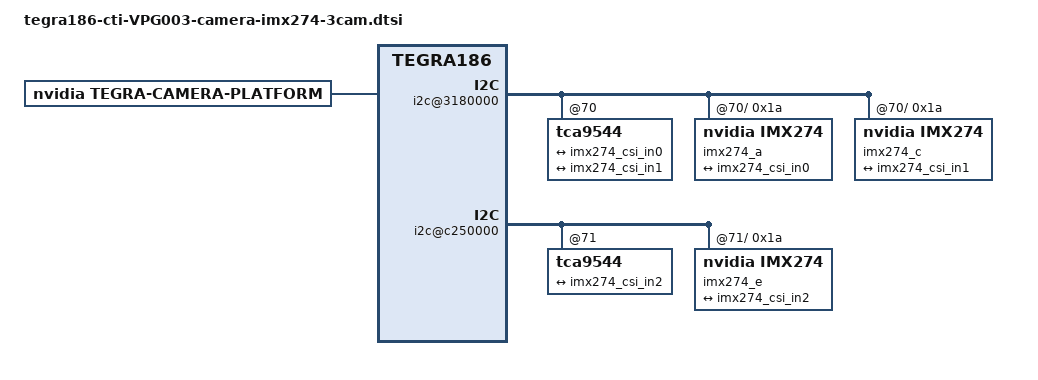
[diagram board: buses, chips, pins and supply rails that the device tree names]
/*
 * Copyright (c) 2015-2017, NVIDIA CORPORATION.  All rights reserved.
 *
 * This program is free software; you can redistribute it and/or modify
 * it under the terms of the GNU General Public License as published by
 * the Free Software Foundation; either version 2 of the License, or
 * (at your option) any later version.
 *
 * This program is distributed in the hope that it will be useful, but WITHOUT
 * ANY WARRANTY; without even the implied warranty of MERCHANTABILITY or
 * FITNESS FOR A PARTICULAR PURPOSE.  See the GNU General Public License for
 * more details.
 *
 * You should have received a copy of the GNU General Public License
 * along with this program.  If not, see <http://www.gnu.org/licenses/>.
 */

/ {
	host1x {
		vi@15700000 {
			num-channels = <3>;
			ports {
				#address-cells = <1>;
				#size-cells = <0>;
				port@0 {
					reg = <0>;
					imx274_vi_in0: endpoint {
						csi-port = <0>;
						bus-width = <4>;
						remote-endpoint = <&imx274_csi_out0>;
					};
				};
				port@1 {
					reg = <1>;
					imx274_vi_in1: endpoint {
						csi-port = <2>;
						bus-width = <4>;
						remote-endpoint = <&imx274_csi_out1>;
					};
				};				
				port@2 {
					reg = <2>;
					imx274_vi_in2: endpoint {
						csi-port = <4>;
						bus-width = <4>;
						remote-endpoint = <&imx274_csi_out2>;
					};
				};				
			};
		};

		nvcsi@150c0000 {			
			num-channels = <3>;
			#address-cells = <1>;
			#size-cells = <0>;
			channel@0 {
				reg = <0>;
				ports {
					#address-cells = <1>;
					#size-cells = <0>;
					port@0 {
						reg = <0>;
						imx274_csi_in0: endpoint@0 {
							csi-port = <0>;
							bus-width = <4>;
							remote-endpoint = <&imx274_out0>;
						};
					};
					port@1 {
						reg = <1>;
						imx274_csi_out0: endpoint@1 {
							remote-endpoint = <&imx274_vi_in0>;
						};
					};
				};
			};
			channel@1 {
				reg = <1>;
				ports {
					#address-cells = <1>;
					#size-cells = <0>;
					port@0 {
						reg = <0>;
						imx274_csi_in1: endpoint@0 {
							csi-port = <2>;
							bus-width = <4>;
							remote-endpoint = <&imx274_out1>;
						};
					};
					port@1 {
						reg = <1>;
						imx274_csi_out1: endpoint@1 {
							remote-endpoint = <&imx274_vi_in1>;
						};
					};
				};
			};
			
			channel@2 {
				reg = <2>;
				ports {
					#address-cells = <1>;
					#size-cells = <0>;
					port@0 {
						reg = <0>;
						imx274_csi_in2: endpoint@0 {
							csi-port = <4>;
							bus-width = <4>;
							remote-endpoint = <&imx274_out2>;
						};
					};
					port@1 {
						reg = <1>;
						imx274_csi_out2: endpoint@1 {
							remote-endpoint = <&imx274_vi_in2>;
						};
					};
				};
			};						
		};
	};
	
	
	i2c@3180000 {
		tca9544@70 {
			i2c@0 {
				imx274_a@1a {
					compatible = "nvidia,imx274";
					reg = <0x1a>;
					devnode = "video0";

					/* Physical dimensions of sensor */
					physical_w = "3.674";
					physical_h = "2.738";


					/* Define any required hw resources needed by driver */
					/* ie. clocks, io pins, power sources */
					avdd-reg = "vana";
					iovdd-reg = "vif";
					dvdd-reg = "vdig";
					


                    mode0 { 
                        mclk_khz = "24000";
                        num_lanes = "4";
                        tegra_sinterface = "serial_a";
                        discontinuous_clk = "yes";
                        dpcm_enable = "false";
                        cil_settletime = "0";

                        active_w = "3840";
                        active_h = "2160";
                        pixel_t = "bayer_rggb";
                        readout_orientation = "90";
                        line_length = "4200";
                        inherent_gain = "1";
                        mclk_multiplier = "25";
                        pix_clk_hz = "756000000";

                        min_gain_val = "1.0";
                        max_gain_val = "180";
                        min_hdr_ratio = "1";
                        max_hdr_ratio = "64";
                        min_framerate = "1.462526";
                        max_framerate = "60";
                        min_exp_time = "16.165";
                        max_exp_time = "165770";
                        //embedded_metadata_height = "1";
                    };
                    mode1 { // IMX274_MODE_1920X1080
                        mclk_khz = "24000";
                        num_lanes = "4";
                        tegra_sinterface = "serial_a";
                        discontinuous_clk = "yes";
                        dpcm_enable = "false";
                        cil_settletime = "0";

                        active_w = "1920";
                        active_h = "1080";
                        pixel_t = "bayer_rggb";
                        readout_orientation = "90";
                        line_length = "4200";
                        inherent_gain = "1";
                        mclk_multiplier = "25";
                        pix_clk_hz = "756000000";

                        min_gain_val = "1.0";
                        max_gain_val = "180";
                        min_hdr_ratio = "1";
                        max_hdr_ratio = "64";
                        min_framerate = "1.462526";
                        max_framerate = "60";
                        min_exp_time = "16.165";
                        max_exp_time = "165770";
    //                  embedded_metadata_height = "1";
                    };
                    mode2 { // IMX274_MODE_1280X720
                        mclk_khz = "24000";
                        num_lanes = "4";
                        tegra_sinterface = "serial_a";
                        discontinuous_clk = "yes";
                        dpcm_enable = "false";
                        cil_settletime = "0";

                        active_w = "1280";
                        active_h = "720";
                        pixel_t = "bayer_rggb";
                        readout_orientation = "90";
                        line_length = "4200";
                        inherent_gain = "1";
                        mclk_multiplier = "25";
                        pix_clk_hz = "756000000";

                        min_gain_val = "1.0";
                        max_gain_val = "180";
                        min_hdr_ratio = "1";
                        max_hdr_ratio = "64";
                        min_framerate = "1.462526";
                        max_framerate = "60";
                        min_exp_time = "16.165";
                        max_exp_time = "165770";
    //                  embedded_metadata_height = "1";
                    };
                    mode3 { // IMX274_MODE_1280X540
                        mclk_khz = "24000";
                        num_lanes = "4";
                        tegra_sinterface = "serial_a";
                        discontinuous_clk = "yes";
                        dpcm_enable = "false";
                        cil_settletime = "0";

                        active_w = "1280";
                        active_h = "540";
                        pixel_t = "bayer_rggb";
                        readout_orientation = "90";
                        line_length = "4200";
                        inherent_gain = "1";
                        mclk_multiplier = "25";
                        pix_clk_hz = "756000000";

                        min_gain_val = "1.0";
                        max_gain_val = "180";
                        min_hdr_ratio = "1";
                        max_hdr_ratio = "64";
                        min_framerate = "1.462526";
                        max_framerate = "60";
                        min_exp_time = "16.165";
                        max_exp_time = "165770";
    //                  embedded_metadata_height = "1";
                    };


					ports {
						#address-cells = <1>;
						#size-cells = <0>;

						port@0 {
							reg = <0>;
							imx274_out0: endpoint {
								csi-port = <0>;
								bus-width = <4>;
								remote-endpoint = <&imx274_csi_in0>;
							};
						};
					};
				};
			};	
			
			i2c@2 {
				imx274_c@1a {
					compatible = "nvidia,imx274";
					reg = <0x1a>;
					devnode = "video1";

					/* Physical dimensions of sensor */
					physical_w = "3.674";
					physical_h = "2.738";


					/* Define any required hw resources needed by driver */
					/* ie. clocks, io pins, power sources */
					avdd-reg = "vana";
					iovdd-reg = "vif";
					dvdd-reg = "vdig";
					
                    mode0 { 
                        mclk_khz = "24000";
                        num_lanes = "4";
                        tegra_sinterface = "serial_c";
                        discontinuous_clk = "yes";
                        dpcm_enable = "false";
                        cil_settletime = "0";

                        active_w = "3840";
                        active_h = "2160";
                        pixel_t = "bayer_rggb";
                        readout_orientation = "90";
                        line_length = "4200";
                        inherent_gain = "1";
                        mclk_multiplier = "25";
                        pix_clk_hz = "756000000";

                        min_gain_val = "1.0";
                        max_gain_val = "180";
                        min_hdr_ratio = "1";
                        max_hdr_ratio = "64";
                        min_framerate = "1.462526";
                        max_framerate = "60";
                        min_exp_time = "16.165";
                        max_exp_time = "165770";
                        //embedded_metadata_height = "1";
                    };
                    mode1 { // IMX274_MODE_1920X1080
                        mclk_khz = "24000";
                        num_lanes = "4";
                        tegra_sinterface = "serial_c";
                        discontinuous_clk = "yes";
                        dpcm_enable = "false";
                        cil_settletime = "0";

                        active_w = "1920";
                        active_h = "1080";
                        pixel_t = "bayer_rggb";
                        readout_orientation = "90";
                        line_length = "4200";
                        inherent_gain = "1";
                        mclk_multiplier = "25";
                        pix_clk_hz = "756000000";

                        min_gain_val = "1.0";
                        max_gain_val = "180";
                        min_hdr_ratio = "1";
                        max_hdr_ratio = "64";
                        min_framerate = "1.462526";
                        max_framerate = "60";
                        min_exp_time = "16.165";
                        max_exp_time = "165770";
    //                  embedded_metadata_height = "1";
                    };
                    mode2 { // IMX274_MODE_1280X720
                        mclk_khz = "24000";
                        num_lanes = "4";
                        tegra_sinterface = "serial_c";
                        discontinuous_clk = "yes";
                        dpcm_enable = "false";
                        cil_settletime = "0";

                        active_w = "1280";
                        active_h = "720";
                        pixel_t = "bayer_rggb";
                        readout_orientation = "90";
                        line_length = "4200";
                        inherent_gain = "1";
                        mclk_multiplier = "25";
                        pix_clk_hz = "756000000";

                        min_gain_val = "1.0";
                        max_gain_val = "180";
                        min_hdr_ratio = "1";
                        max_hdr_ratio = "64";
                        min_framerate = "1.462526";
                        max_framerate = "60";
                        min_exp_time = "16.165";
                        max_exp_time = "165770";
    //                  embedded_metadata_height = "1";
                    };
                    mode3 { // IMX274_MODE_1280X540
                        mclk_khz = "24000";
                        num_lanes = "4";
                        tegra_sinterface = "serial_c";
                        discontinuous_clk = "yes";
                        dpcm_enable = "false";
                        cil_settletime = "0";

                        active_w = "1280";
                        active_h = "540";
                        pixel_t = "bayer_rggb";
                        readout_orientation = "90";
                        line_length = "4200";
                        inherent_gain = "1";
                        mclk_multiplier = "25";
                        pix_clk_hz = "756000000";

                        min_gain_val = "1.0";
                        max_gain_val = "180";
                        min_hdr_ratio = "1";
                        max_hdr_ratio = "64";
                        min_framerate = "1.462526";
                        max_framerate = "60";
                        min_exp_time = "16.165";
                        max_exp_time = "165770";
    //                  embedded_metadata_height = "1";
                    };

					ports {
						#address-cells = <1>;
						#size-cells = <0>;

						port@0 {
							reg = <0>;
							imx274_out1: endpoint {
								csi-port = <2>;
								bus-width = <4>;
								remote-endpoint = <&imx274_csi_in1>;
							};
						};
					};
				};
			};
			
		};
	};
	
	i2c@c250000{
		tca9544@71 {
			i2c@1 {
				imx274_e@1a {
					compatible = "nvidia,imx274";
					reg = <0x1a>;
					devnode = "video2";

					/* Physical dimensions of sensor */
					physical_w = "3.674";
					physical_h = "2.738";


					/* Define any required hw resources needed by driver */
					/* ie. clocks, io pins, power sources */
					avdd-reg = "vana";
					iovdd-reg = "vif";
					dvdd-reg = "vdig";
					
                    mode0 { 
                        mclk_khz = "24000";
                        num_lanes = "4";
                        tegra_sinterface = "serial_e";
                        discontinuous_clk = "yes";
                        dpcm_enable = "false";
                        cil_settletime = "0";

                        active_w = "3840";
                        active_h = "2160";
                        pixel_t = "bayer_rggb";
                        readout_orientation = "90";
                        line_length = "4200";
                        inherent_gain = "1";
                        mclk_multiplier = "25";
                        pix_clk_hz = "756000000";

                        min_gain_val = "1.0";
                        max_gain_val = "180";
                        min_hdr_ratio = "1";
                        max_hdr_ratio = "64";
                        min_framerate = "1.462526";
                        max_framerate = "60";
                        min_exp_time = "16.165";
                        max_exp_time = "165770";
                        //embedded_metadata_height = "1";
                    };
                    mode1 { // IMX274_MODE_1920X1080
                        mclk_khz = "24000";
                        num_lanes = "4";
                        tegra_sinterface = "serial_e";
                        discontinuous_clk = "yes";
                        dpcm_enable = "false";
                        cil_settletime = "0";

                        active_w = "1920";
                        active_h = "1080";
                        pixel_t = "bayer_rggb";
                        readout_orientation = "90";
                        line_length = "4200";
                        inherent_gain = "1";
                        mclk_multiplier = "25";
                        pix_clk_hz = "756000000";

                        min_gain_val = "1.0";
                        max_gain_val = "180";
                        min_hdr_ratio = "1";
                        max_hdr_ratio = "64";
                        min_framerate = "1.462526";
                        max_framerate = "60";
                        min_exp_time = "16.165";
                        max_exp_time = "165770";
    //                  embedded_metadata_height = "1";
                    };
                    mode2 { // IMX274_MODE_1280X720
                        mclk_khz = "24000";
                        num_lanes = "4";
                        tegra_sinterface = "serial_e";
                        discontinuous_clk = "yes";
                        dpcm_enable = "false";
                        cil_settletime = "0";

                        active_w = "1280";
                        active_h = "720";
                        pixel_t = "bayer_rggb";
                        readout_orientation = "90";
                        line_length = "4200";
                        inherent_gain = "1";
                        mclk_multiplier = "25";
                        pix_clk_hz = "756000000";

                        min_gain_val = "1.0";
                        max_gain_val = "180";
                        min_hdr_ratio = "1";
                        max_hdr_ratio = "64";
                        min_framerate = "1.462526";
                        max_framerate = "60";
                        min_exp_time = "16.165";
                        max_exp_time = "165770";
    //                  embedded_metadata_height = "1";
                    };
                    mode3 { // IMX274_MODE_1280X540
                        mclk_khz = "24000";
                        num_lanes = "4";
                        tegra_sinterface = "serial_e";
                        discontinuous_clk = "yes";
                        dpcm_enable = "false";
                        cil_settletime = "0";

                        active_w = "1280";
                        active_h = "540";
                        pixel_t = "bayer_rggb";
                        readout_orientation = "90";
                        line_length = "4200";
                        inherent_gain = "1";
                        mclk_multiplier = "25";
                        pix_clk_hz = "756000000";

                        min_gain_val = "1.0";
                        max_gain_val = "180";
                        min_hdr_ratio = "1";
                        max_hdr_ratio = "64";
                        min_framerate = "1.462526";
                        max_framerate = "60";
                        min_exp_time = "16.165";
                        max_exp_time = "165770";
    //                  embedded_metadata_height = "1";
                    };

					ports {
						#address-cells = <1>;
						#size-cells = <0>;

						port@0 {
							reg = <0>;
							imx274_out2: endpoint {
								csi-port = <4>;
								bus-width = <4>;
								remote-endpoint = <&imx274_csi_in2>;
							};
						};
					};
				};
			};			
		};
	};
		
	lens_imx274@A6V26 {
		min_focus_distance = "0.0";
		hyper_focal = "0.0";
		focal_length = "5.00";
		f_number = "2.0";
		aperture = "2.2";
	};
	
	tegra-camera-platform {
		compatible = "nvidia, tegra-camera-platform";
		/**
		* Physical settings to calculate max ISO BW
		*
		* num_csi_lanes = <>;
		* Total number of CSI lanes when all cameras are active
		*
		* max_lane_speed = <>;
		* Max lane speed in Kbit/s
		*
		* min_bits_per_pixel = <>;
		* Min bits per pixel
		*
		* vi_peak_byte_per_pixel = <>;
		* Max byte per pixel for the VI ISO case
		*
		* vi_bw_margin_pct = <>;
		* Vi bandwidth margin in percentage
		*
		* max_pixel_rate = <>;
		* Max pixel rate in Kpixel/s for the ISP ISO case
		* Set this to the highest pix_clk_hz out of all available modes.
		*
		* isp_peak_byte_per_pixel = <>;
		* Max byte per pixel for the ISP ISO case
		*
		* isp_bw_margin_pct = <>;
		* Isp bandwidth margin in percentage
		*/
		num_csi_lanes = <12>;
		max_lane_speed = <1500000>;
		min_bits_per_pixel = <10>;
		vi_peak_byte_per_pixel = <2>;
		vi_bw_margin_pct = <25>;
		max_pixel_rate = <160000>;
		isp_peak_byte_per_pixel = <5>;
		isp_bw_margin_pct = <25>;

		/**
		* The general guideline for naming badge_info contains 3 parts, and is as follows,
		* The first part is the camera_board_id for the module; if the module is in a FFD
		* platform, then use the platform name for this part.
		* The second part contains the position of the module, ex. “rear” or “front”.
		* The third part contains the last 6 characters of a part number which is found
		* in the module's specsheet from the vender.
		*/
		modules {
			module0 {
				badge = "imx274_centerright_P5V27C";
				position = "centerright";
				orientation = "1";
				status = "okay";
				drivernode0 {
					status = "okay";
					pcl_id = "v4l2_sensor";
					devname = "imx274 31-001a";
					proc-device-tree = "/proc/device-tree/i2c@c250000/tca9544@71/i2c@1/imx274_e@1a";
				};
				drivernode1 {
					status = "okay";
					pcl_id = "v4l2_lens";
					proc-device-tree = "/proc/device-tree/lens_imx274@A6V26/";
				};
			};
			
			module1 {
				badge = "imx274_centerleft_P5V27C";
				position = "centerleft";
				orientation = "1";
				status = "okay";
				drivernode0 {
				status = "okay";
					pcl_id = "v4l2_sensor";
					devname = "imx274 36-001a";
					proc-device-tree = "/proc/device-tree/i2c@3180000/tca9544@70/i2c@2/imx274_c@1a";
				};
				drivernode1 {
				status = "okay";
					pcl_id = "v4l2_lens";
					proc-device-tree = "/proc/device-tree/lens_imx274@A6V26/";
				};
			};
			
			module2 {
				badge = "imx274_bottomleft_P5V27C";
				position = "bottomleft";
				orientation = "1";
				status = "okay";
				drivernode0 {
				status = "okay";
					pcl_id = "v4l2_sensor";
					devname = "imx274 34-001a";
					proc-device-tree = "/proc/device-tree/i2c@3180000/tca9544@70/i2c@0/imx274_a@1a";
				};
				drivernode1 {
				status = "okay";
					pcl_id = "v4l2_lens";
					proc-device-tree = "/proc/device-tree/lens_imx274@A6V26/";
				};
			};											
			
		};
	};
};
